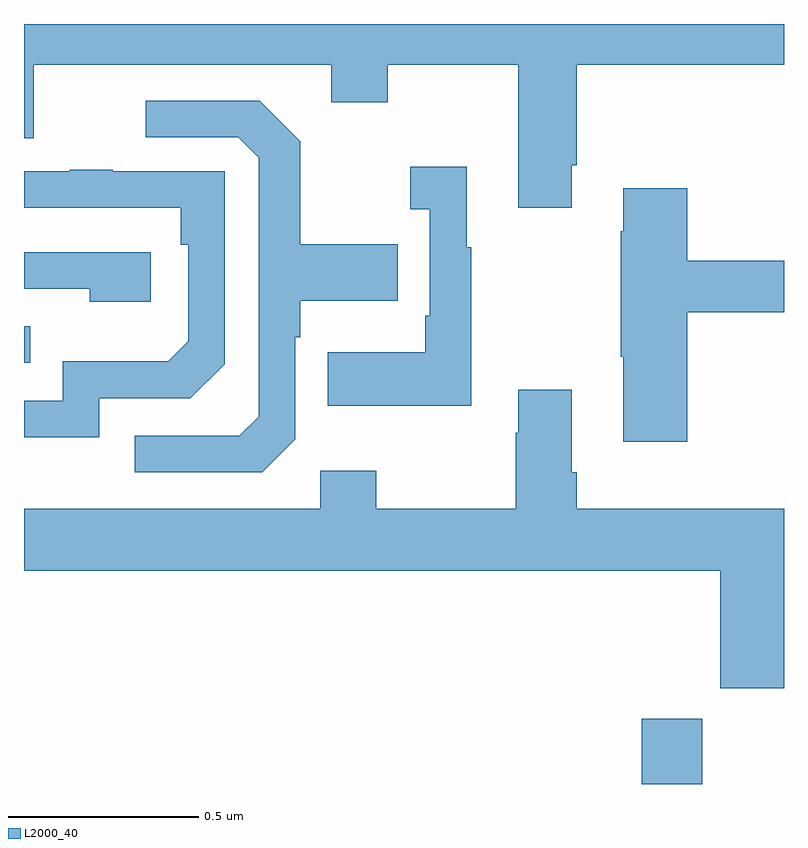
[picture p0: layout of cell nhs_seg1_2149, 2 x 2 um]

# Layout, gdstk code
import gdstk
lib = gdstk.Library(unit=1e-6, precision=1e-09)
def R(c, l, rs):  # rectangles x0, y0, x1, y1
    for r in rs: c.add(gdstk.rectangle(r[:2], r[2:], *l))
def P(c, l, *ps):  # polygons
    for p in ps: c.add(gdstk.Polygon(p, *l))
L2000_40 = (2000, 40)

nhs_seg1_2149 = lib.new_cell('nhs_seg1_2149')
R(nhs_seg1_2149, L2000_40, [(139.625,523.199,139.785,523.371), (138,524.307,138.017,524.403)])
P(nhs_seg1_2149, L2000_40, [(139.441,524.827),(139.454,524.827),(139.454,525.092),(140,525.092),(140,525.199),(138,525.199),(138,524.898),(138.025,524.898),(138.025,525.092),(138.809,525.092),(138.809,524.993),(138.957,524.993),(138.957,525.092),(139.301,525.092),(139.301,524.715),(139.441,524.715)],
  [(138.714,524.106),(138.714,524.375),(138.727,524.375),(138.727,524.471),(138.983,524.471),(138.983,524.619),(138.727,524.619),(138.727,524.891),(138.621,524.997),(138.321,524.997),(138.321,524.901),(138.564,524.901),(138.618,524.847),(138.618,524.166),(138.567,524.115),(138.291,524.115),(138.291,524.019),(138.627,524.019)],
  [(139.177,524.611),(139.165,524.611),(139.165,524.824),(139.017,524.824),(139.017,524.711),(139.068,524.711),(139.068,524.431),(139.056,524.431),(139.056,524.335),(138.799,524.335),(138.799,524.195),(139.177,524.195)],
  [(138.198,524.214),(138.438,524.214),(138.528,524.304),(138.528,524.811),(138.233,524.811),(138.233,524.816),(138.121,524.816),(138.121,524.811),(138,524.811),(138,524.715),(138.412,524.715),(138.412,524.618),(138.432,524.618),(138.432,524.364),(138.379,524.311),(138.102,524.311),(138.102,524.208),(138,524.208),(138,524.112),(138.198,524.112)],
  [(139.745,524.44),(140,524.44),(140,524.576),(139.745,524.576),(139.745,524.767),(139.577,524.767),(139.577,524.654),(139.57,524.654),(139.57,524.323),(139.577,524.323),(139.577,524.1),(139.745,524.1)],
  [(138.334,524.598),(138,524.598),(138,524.502),(138.173,524.502),(138.173,524.468),(138.334,524.468)],
  [(140,523.924),(139.454,523.924),(139.454,524.02),(139.441,524.02),(139.441,524.236),(139.301,524.236),(139.301,524.123),(139.294,524.123),(139.294,523.924),(138.927,523.924),(138.927,524.023),(138.78,524.023),(138.78,523.924),(138,523.924),(138,523.76),(139.832,523.76),(139.832,523.451),(140,523.451)])

lib.write_gds('nhs_seg1_2149.gds')
